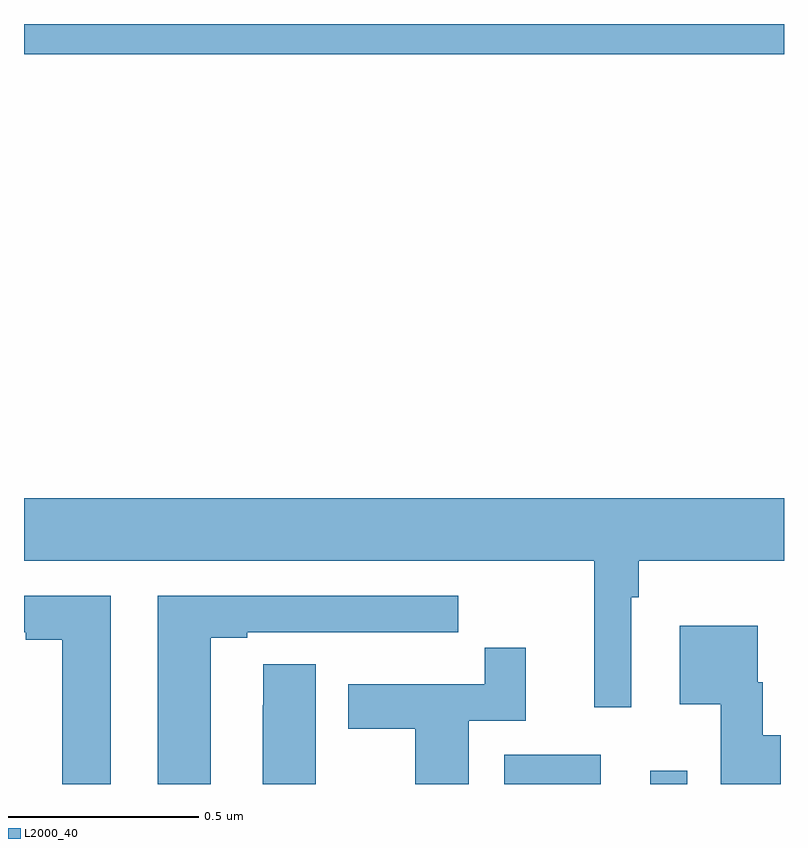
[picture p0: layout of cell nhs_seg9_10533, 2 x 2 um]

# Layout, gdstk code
import gdstk
lib = gdstk.Library(unit=1e-6, precision=1e-09)
def R(c, l, rs):  # rectangles x0, y0, x1, y1
    for r in rs: c.add(gdstk.rectangle(r[:2], r[2:], *l))
def P(c, l, *ps):  # polygons
    for p in ps: c.add(gdstk.Polygon(p, *l))
L2000_40 = (2000, 40)

nhs_seg9_10533 = lib.new_cell('nhs_seg9_10533')
R(nhs_seg9_10533, L2000_40, [(245.264,1194.5,245.518,1194.577), (245.648,1194.5,245.745,1194.535), (244,1196.42,246,1196.5)])
P(nhs_seg9_10533, L2000_40, [(245.598,1194.992),(245.618,1194.992),(245.618,1195.088),(246,1195.088),(246,1195.252),(244,1195.252),(244,1195.088),(245.501,1195.088),(245.501,1194.702),(245.598,1194.702)],
  [(244.228,1194.996),(244,1194.996),(244,1194.9),(244.004,1194.9),(244.004,1194.88),(244.1,1194.88),(244.1,1194.5),(244.228,1194.5)],
  [(244.492,1194.885),(244.588,1194.885),(244.588,1194.9),(244.864,1194.9),(244.864,1194.899),(245.03,1194.899),(245.03,1194.9),(245.143,1194.9),(245.143,1194.996),(244.352,1194.996),(244.352,1194.5),(244.492,1194.5)],
  [(245.992,1194.628),(245.944,1194.628),(245.944,1194.768),(245.931,1194.768),(245.931,1194.916),(245.726,1194.916),(245.726,1194.71),(245.833,1194.71),(245.833,1194.5),(245.992,1194.5)],
  [(245.17,1194.666),(245.321,1194.666),(245.321,1194.859),(245.212,1194.859),(245.212,1194.762),(244.853,1194.762),(244.853,1194.646),(245.03,1194.646),(245.03,1194.5),(245.17,1194.5)],
  [(244.768,1194.815),(244.629,1194.815),(244.629,1194.707),(244.628,1194.707),(244.628,1194.5),(244.768,1194.5)])

lib.write_gds('nhs_seg9_10533.gds')
